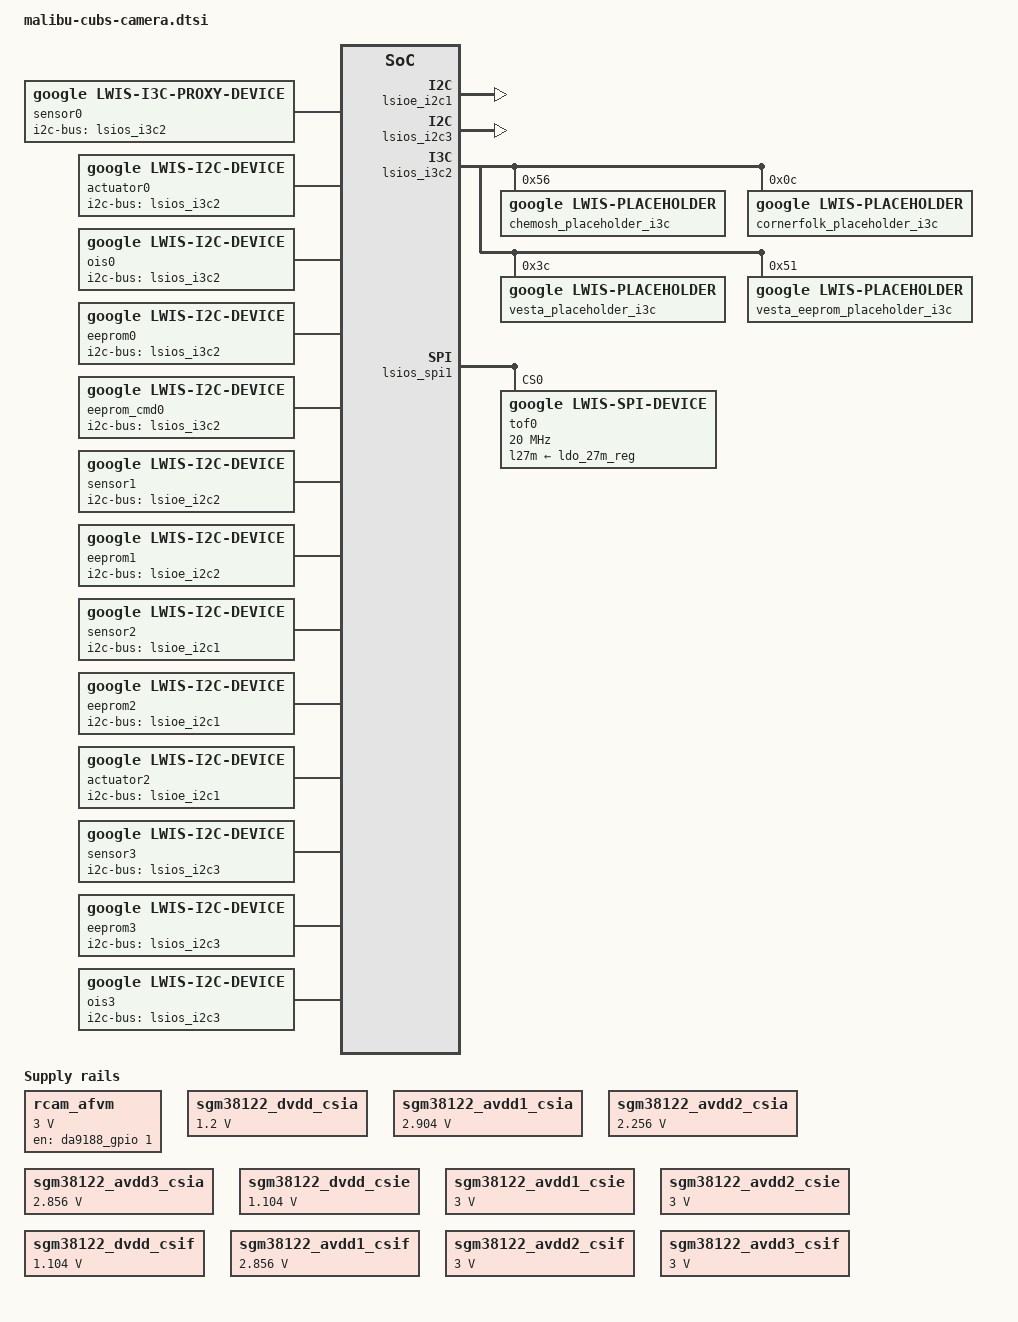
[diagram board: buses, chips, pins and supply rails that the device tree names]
// SPDX-License-Identifier: GPL-2.0-only
/*
 * camera lwis device tree for MBU device
 *
 * Copyright 2025 Google LLC.
 *
 */

#include <dt-bindings/gpio/gpio.h>
#include <dt-bindings/interrupt-controller/irq.h>
#include <dt-bindings/lwis/platform/malibu/tof.h>

&xlsioe_i23c7_scl {
	function = "lsioe_i2c";
};

&xlsioe_i23c7_sda {
	function = "lsioe_i2c";
};

/* FCAM: switch I2C/I3C explicitly */
&xlsioe_i23c6_scl {
	function = "lsioe_i2c";
};

&xlsioe_i23c6_sda {
	function = "lsioe_i2c";
};

&lsioe_i2c1 {
	status = "okay";
};

&lsioe_i3c1 {
	status = "disabled";
};

/* RTCAM: switch I2C/I3C explicitly */
&xlsios_i23c3_scl {
	function = "lsios_i2c3";
};

&xlsios_i23c3_sda {
	function = "lsios_i2c3";
};

&lsios_i2c3 {
	status = "okay";
};

&lsios_i3c3 {
	status = "disabled";
};

/* RCAM: switch I2C/I3C explicitly */
&xlsios_i23c2_scl {
	function = "lsios_i3c2";
};
&xlsios_i23c2_sda {
	function = "lsios_i3c2";
};
&lsios_i2c2 {
	status = "disabled";
};
&lsios_i3c2 {
	#address-cells = <3>;
	#size-cells = <0>;
	status = "okay";

	io-vreg-supply = <&ldo_22s_reg>;

	i3c-scl-hz = <12000000>;

	/* Lwis placeholder for RCAM */
	chemosh_placeholder_i3c: chemosh_placeholder_i3c@0 {
		compatible = "google,lwis-placeholder";
		/* I2C */
		reg = <0x56 0x0 0x20>;
	};
	cornerfolk_placeholder_i3c: cornerfolk_placeholder_i3c@0 {
		compatible = "google,lwis-placeholder";
		/* I2C */
		reg = <0xC 0x0 0x20>;
	};
	vesta_placeholder_i3c: vesta_placeholder_i3c@0 {
		compatible = "google,lwis-placeholder";
		/* I2C */
		reg = <0x3C 0x0 0x20>;
	};
	vesta_eeprom_placeholder_i3c: vesta_eeprom_placeholder_i3c@0 {
		compatible = "google,lwis-placeholder";
		/* I2C */
		reg = <0x51 0x0 0x20>;
	};
};

&sgm38122_dvdd_csia {
	regulator-min-microvolt = <1200000>;
	regulator-max-microvolt = <1200000>;
};
&sgm38122_avdd1_csia {
	regulator-min-microvolt = <2904000>;
	regulator-max-microvolt = <2904000>;
};
&sgm38122_avdd2_csia {
	regulator-min-microvolt = <2256000>;
	regulator-max-microvolt = <2256000>;
};
&sgm38122_avdd3_csia {
	regulator-min-microvolt = <2856000>;
	regulator-max-microvolt = <2856000>;
};

&sgm38122_dvdd_csie {
	regulator-min-microvolt = <1104000>;
	regulator-max-microvolt = <1104000>;
};
&sgm38122_avdd1_csie {
	regulator-min-microvolt = <3000000>;
	regulator-max-microvolt = <3000000>;
};
&sgm38122_avdd2_csie {
	regulator-min-microvolt = <3000000>;
	regulator-max-microvolt = <3000000>;
};

&sgm38122_dvdd_csif {
	regulator-min-microvolt = <1104000>;
	regulator-max-microvolt = <1104000>;
};
&sgm38122_avdd1_csif {
	regulator-min-microvolt = <2856000>;
	regulator-max-microvolt = <2856000>;
};
&sgm38122_avdd2_csif {
	regulator-min-microvolt = <3000000>;
	regulator-max-microvolt = <3000000>;
};
&sgm38122_avdd3_csif {
	regulator-min-microvolt = <3000000>;
	regulator-max-microvolt = <3000000>;
};

/ {
	fragment@rcam_supply {
		target-path = "/";
		__overlay__ {
			/* TPS7A20225PDQNR */
			rcam_afvm: rcam_afvm_supply@0 {
				compatible = "regulator-fixed";
				status = "okay";
				regulator-name = "PP3000_RCAM_AF_VM";
				regulator-min-microvolt = <3000000>;
				regulator-max-microvolt = <3000000>;
				/* 1.15ms */
				regulator-enable-ramp-delay = <1150>;
				enable-active-high;
				/* PMICM2RCAM_AF_VM_EN */
				gpio = <&da9188_gpio 1 GPIO_ACTIVE_HIGH>;
			};
		};
	};
};

&lsios_spi1 {
	#address-cells = <1>;
	#size-cells = <0>;
	google,spi-gpio-cs-with-cpol-high;
	tof0: tof@0 {
		compatible = "google,lwis-spi-device";

		/* SPI_CONFIG */
		reg = <0>;
		spi-max-frequency = <20000000>;
		spi-cpol;
		spi-cpha;

		/* Device node name */
		node-name = "tof-tarasque";

		/* Registers */
		reg-addr-bitwidth = <16>;
		reg-value-bitwidth = <8>;

		/* MCLK Control */
		/* LWIS DT parser explicitly requires mclk_on pinctrl */
		pinctrl-names = "default", "mclk_on", "mclk_off";
		pinctrl-0 = <&ldaf2aoss_irq_od_l_1v2>;
		pinctrl-1 = <&ldaf2aoss_irq_od_l_1v2>;
		pinctrl-2 = <>;

		irq-gpios = <LDAF2AOSS_IRQ_OD_L_1V2(GPIO_ACTIVE_LOW)>;
		irq-gpios-names = "tof-irq";
		irq-gpios-events = <LWIS_PLATFORM_EVENT_ID_TOF_DATA_POLLING>;
		irq-gpios-types = <IRQ_TYPE_EDGE_FALLING>;

		/* Power supplies */
		/* VADD 3.3V */
		l27m-supply = <&ldo_27m_reg>;

		/* Power up sequence */
		power-up-seqs =
			"l27m",
			"mclk_on";
		power-up-seq-types =
			"regulator",
			"pinctrl";
		power-up-seq-delays-us =
			<0
			 0>;

		/* Power down sequence */
		power-down-seqs =
			"mclk_off",
			"l27m";
		power-down-seq-types =
			"pinctrl",
			"regulator";
		power-down-seq-delays-us =
			<0
			 0>;

		/* Thread priority */
		/* This is made to be lower than image sensor's thread */
		/* thread priority to allow uninterrupted image sensor */
		/* operation during periods of high CPU contention. */
		transaction-thread-priority = <100>;
	};
};

/ {
	fragment@lwiscamera {
		target-path = "/";
		__overlay__ {
			camera_base_pwrseq: camera_base_pwrseq@0 {
				compatible = "google,lwis-pwrseq-device";

				/* Device node name */
				node-name = "pwrseq-base";
				/* Power sequence target name */
				target-name = "camera_base";

				/* Power supplies */
				bb_cam-supply = <&camera_buck_boost>;

				/* power up sequence */
				power-up-seqs =
					"bb_cam",
					"fast-bb_cam";
				power-up-seq-types =
					"regulator",
					"regulator_mode";
				power-up-seq-delays-us =
					<0
					 200>;

				/* power down sequence */
				power-down-seqs =
					"normal-bb_cam",
					"bb_cam";
				power-down-seq-types =
					"regulator_mode",
					"regulator";
				power-down-seq-delays-us =
					<0
					 0>;
			};

			rear_main_camera_pwrseq: rear_main_camera_pwrseq@0 {
				compatible = "google,lwis-pwrseq-device";

				/* Device node name */
				node-name = "pwrseq-rmain";
				/* Power sequence target name */
				target-name = "rear_main_camera";

				/* Sequencer sources */
				sequencer-sources = <&camera_base_pwrseq>;

				/* Power supplies */
				mvbuck-supply = <&cam_pp1350_mvbuck>;
				vio-supply = <&ldo_22s_reg>;
				vana-supply = <&sgm38122_avdd2_csia>;
				vdig-supply = <&rcam_lvbuck>;
				ois_vana-supply = <&sgm38122_avdd1_csia>;
				ois_vm-supply = <&ldo_26m_reg>;
				af_vm-supply = <&rcam_afvm>;

				/* MCLK Control */
				pinctrl-names = "mclk_on", "mclk_off";
				pinctrl-0 = <&ap2rcam_mclk_24mhz>;
				pinctrl-1 = <&ap2rcam_mclk_24mhz_sleep>;

				/* Power up sequence */
				power-up-seqs =
					"camera_base",
					"mvbuck",
					"vio",
					"vana",
					"vdig",
					"ois_vana",
					"af_vm",
					"ois_vm",
					"mclk_on";
				power-up-seq-types =
					"pwrseq",
					"regulator",
					"regulator",
					"regulator",
					"regulator",
					"regulator",
					"regulator",
					"regulator",
					"pinctrl";
				power-up-seq-delays-us =
					<0
					 0
					 2500
					 0
					 1000
					 0
					 0
					 1000
					 /* AF need 7.1ms (rounded to 8ms) before I2C stable,
					    added the remaining here */
					 7000>;


				power-down-seqs =
					"mclk_off",
					"ois_vm",
					"af_vm",
					"ois_vana",
					"vdig",
					"vana",
					"vio",
					"mvbuck",
					"camera_base";
				power-down-seq-types =
					"pinctrl",
					"regulator",
					"regulator",
					"regulator",
					"regulator",
					"regulator",
					"regulator",
					"regulator",
					"pwrseq";
				power-down-seq-delays-us =
					<1000
					 0
					 1000
					 1000
					 0
					 1000
					 0
					 200
					 0>;
			};

			/* REAR CAMERA CHEMOSH CSIB */
			sensor0: sensor@0 {
				compatible = "google,lwis-i3c-proxy-device";

				/* Device node name */
				node-name = "sensor-chemosh";

				/* I2C */
				i2c-bus = <&lsios_i3c2>;
				i2c-addr = <0x56>;

				/* Registers */
				reg-addr-bitwidth = <16>;
				reg-value-bitwidth = <16>;

				/* I3C */
				i3c-enabled;
				i3c-dcr = <130>;

				/* I2C OTP settings (reg, val) */
				lwis,i2c-otp;
				i2c-otp-settings =
					<0xFCFC 0x4000
					 0x0000 0x0052
					 0x0000 0x58E1
					 0x6018 0x0001
					 0xFFFF 1000

					 0x7002 0x0008
					 0x7004 0x1800
					 0x70B8 0x0CEB
					 0x6014 0x0001
					 0xFFFF 20000>;
				i2c-otp-settle-time = <0>;

				/* I3C OTP settings (reg, val) */
				i3c-otp-settings =
					<0xFCFC 0x4000
					 0x0000 0x0052
					 0x0000 0x58E1
					 0x6018 0x0001
					 0xFFFF 1000

					 0x7002 0x1008
					 0x7004 0x1800
					 0x70B8 0x0CEB
					 0x6014 0x0001
					 0xFFFF 20000>;
				i3c-otp-settle-time = <0>;

				/* I3C IBI */
				ibi-max-payload-len = <3>;
				ibi-num-slots = <8>;

				/* GPIOs */
				reset-gpios = <AP2RCAM_RST_L(GPIO_ACTIVE_HIGH)>;

				/* Power domains: cpm_clk */
				power-domains = <&sswrp_lsio_s_pd>;

				clocks = <&lsio_s_m4_clk>;
				clock-names = "MCLK4";
				clock-rates = <24576000>;

				/* Power sequence */
				power-sequencer = <&rear_main_camera_pwrseq>;

				power-up-seqs = "rear_main_camera", "resume";
				power-up-seq-types = "pwrseq", "controller";
				power-up-seq-delays-us = <0 0>;

				power-down-seqs = "suspend", "rear_main_camera";
				power-down-seq-types = "controller", "pwrseq";
				power-down-seq-delays-us = <0 0>;

				/* Power up mode */
				lwis,power-up-to-suspend;

				/* resume sequence */
				resume-seqs = "reset";
				resume-seq-types = "gpio";
				resume-seq-delays-us = <10000>;

				/* suspend sequence */
				suspend-seqs = "reset";
				suspend-seq-types = "gpio";
				suspend-seq-delays-us = <1000>;

				/* Thread priority */
				transaction-thread-priority = <99>;

				i2c-lock-group-id = <0>;
				transaction-process-limit = <200>;
			};

			/* Actuator CORNERFOLK for CHEMOSH */
			actuator0: actuator@0 {
				compatible = "google,lwis-i2c-device";

				/* Device node name */
				node-name = "act-cornerfolk";

				/* I2C */
				i2c-bus = <&lsios_i3c2>;
				i2c-addr = <0xC>;

				/* Registers */
				reg-addr-bitwidth = <8>;
				reg-value-bitwidth = <8>;

				/* Power sequence */
				power-sequencer = <&rear_main_camera_pwrseq>;

				power-up-seqs = "rear_main_camera", "resume";
				power-up-seq-types = "pwrseq", "controller";
				power-up-seq-delays-us = <0 0>;

				power-down-seqs = "suspend", "rear_main_camera";
				power-down-seq-types = "controller", "pwrseq";
				power-down-seq-delays-us = <0 0>;

				/* Thread priority */
				transaction-thread-priority = <99>;

				i2c-lock-group-id = <0>;
			};

			/* OIS VESTA for CHEMOSH */
			ois0: ois@0 {
				compatible = "google,lwis-i2c-device";

				/* Device node name */
				node-name = "ois-vesta";

				/* I2C */
				i2c-bus = <&lsios_i3c2>;
				i2c-addr = <0x3C>;

				/* Registers */
				reg-addr-bitwidth = <16>;
				reg-value-bitwidth = <8>;

				/* Power sequence */
				power-sequencer = <&rear_main_camera_pwrseq>;

				power-up-seqs = "rear_main_camera", "resume";
				power-up-seq-types = "pwrseq", "controller";
				power-up-seq-delays-us = <0 0>;

				power-down-seqs = "suspend", "rear_main_camera";
				power-down-seq-types = "controller", "pwrseq";
				power-down-seq-delays-us = <0 0>;

				/* Thread priority */
				transaction-thread-priority = <99>;

				i2c-lock-group-id = <0>;
			};

			/* EEPROM VESTA for CHEMOSH */
			eeprom0: eeprom@0 {
				compatible = "google,lwis-i2c-device";

				/* Device node name */
				node-name = "eeprom-vesta";

				/* I2C */
				i2c-bus = <&lsios_i3c2>;
				i2c-addr = <0x51>;

				/* Registers */
				reg-addr-bitwidth = <16>;
				reg-value-bitwidth = <32>;

				/* Power sequence */
				power-sequencer = <&rear_main_camera_pwrseq>;

				power-up-seqs = "rear_main_camera", "resume";
				power-up-seq-types = "pwrseq", "controller";
				power-up-seq-delays-us = <0 0>;

				power-down-seqs = "suspend", "rear_main_camera";
				power-down-seq-types = "controller", "pwrseq";
				power-down-seq-delays-us = <0 0>;

				/* Thread priority */
				transaction-thread-priority = <99>;

				i2c-lock-group-id = <0>;
			};

			eeprom_cmd0: eeprom_cmd@0 {
				compatible = "google,lwis-i2c-device";

				/* Device node name */
				node-name = "eeprom-cmd-vesta";

				/* I2C */
				i2c-bus = <&lsios_i3c2>;
				i2c-addr = <0x51>;

				/* Registers */
				reg-addr-bitwidth = <16>;
				reg-value-bitwidth = <8>;

				/* Power sequence */
				power-sequencer = <&rear_main_camera_pwrseq>;

				power-up-seqs = "rear_main_camera", "resume";
				power-up-seq-types = "pwrseq", "controller";
				power-up-seq-delays-us = <0 0>;

				power-down-seqs = "suspend", "rear_main_camera";
				power-down-seq-types = "controller", "pwrseq";
				power-down-seq-delays-us = <0 0>;

				/* Thread priority */
				transaction-thread-priority = <99>;

				i2c-lock-group-id = <0>;
			};

			rear_uw_camera_pwrseq: rear_uw_camera_pwrseq@0 {
				compatible = "google,lwis-pwrseq-device";

				/* Device node name */
				node-name = "pwrseq-ruw";
				/* Power sequence target name */
				target-name = "rear_uw_camera";

				/* Sequencer sources */
				sequencer-sources = <&camera_base_pwrseq>;

				/* Power supplies */
				mvbuck-supply = <&cam_pp1350_mvbuck>;
				vio-supply = <&ldo_22s_reg>;
				vdig-supply = <&sgm38122_dvdd_csia>;
				vana-supply = <&sgm38122_avdd3_csia>;

				/* MCLK Control */
				pinctrl-names = "mclk_on", "mclk_off";
				pinctrl-0 = <&ap2ruwcam_mclk_24mhz>;
				pinctrl-1 = <&ap2ruwcam_mclk_24mhz_sleep>;

				power-up-seqs =
					"camera_base",
					"mvbuck",
					"vio",
					"vana",
					"vdig",
					"mclk_on";
				power-up-seq-types =
					"pwrseq",
					"regulator",
					"regulator",
					"regulator",
					"regulator",
					"pinctrl";
				power-up-seq-delays-us =
					<0
					 0
					 2500
					 0
					 1000
					 10000>;

				power-down-seqs =
					"mclk_off",
					"vdig",
					"vana",
					"vio",
					"mvbuck",
					"camera_base";
				power-down-seq-types =
					"pinctrl",
					"regulator",
					"regulator",
					"regulator",
					"regulator",
					"pwrseq";
				power-down-seq-delays-us =
					<1000
					 1000
					 1000
					 0
					 200
					 0>;
			};

			/* REAR ULTRA WIDE LESHEN CSIE */
			sensor1: sensor@1 {
				compatible = "google,lwis-i2c-device";

				/* Device node name */
				node-name = "sensor-leshen-uw";

				/* I2C */
				i2c-bus = <&lsioe_i2c2>;
				i2c-addr = <0x1A>;

				/* Registers */
				reg-addr-bitwidth = <16>;
				reg-value-bitwidth = <8>;

				/* GPIOs */
				reset-gpios = <AP2RUWCAM_RST_L(GPIO_ACTIVE_HIGH)>;

				/* Power domains: cpm_clk */
				power-domains = <&sswrp_lsio_s_pd>;

				clocks = <&lsio_s_m2_clk>;
				clock-names = "MCLK2";
				clock-rates = <24576000>;

				/* Power up sequence */
				power-sequencer = <&rear_uw_camera_pwrseq>;

				power-up-seqs = "rear_uw_camera", "resume";
				power-up-seq-types = "pwrseq", "controller";
				power-up-seq-delays-us = <0 0>;

				power-down-seqs = "suspend", "rear_uw_camera";
				power-down-seq-types = "controller", "pwrseq";
				power-down-seq-delays-us = <0 0>;

				/* resume sequence */
				resume-seqs = "reset";
				resume-seq-types = "gpio";
				resume-seq-delays-us = <1000>;

				/* suspend sequence */
				suspend-seqs = "reset";
				suspend-seq-types = "gpio";
				suspend-seq-delays-us = <1000>;

				/* Power up mode */
				lwis,power-up-to-suspend;

				/* Thread priority */
				transaction-thread-priority = <99>;

				i2c-lock-group-id = <1>;
			};

			/* EEPROM SMAUG for LESHEN-UW */
			eeprom1: eeprom@1 {
				compatible = "google,lwis-i2c-device";

				/* Device node name */
				node-name = "eeprom-smaug-leshen-uw";

				/* I2C */
				i2c-bus = <&lsioe_i2c2>;
				i2c-addr = <0x50>;

				/* Registers */
				reg-addr-bitwidth = <16>;
				reg-value-bitwidth = <8>;

				/* Power up sequence */
				power-sequencer = <&rear_uw_camera_pwrseq>;

				power-up-seqs = "rear_uw_camera", "resume";
				power-up-seq-types = "pwrseq", "controller";
				power-up-seq-delays-us = <0 0>;

				power-down-seqs = "suspend", "rear_uw_camera";
				power-down-seq-types = "controller", "pwrseq";
				power-down-seq-delays-us = <0 0>;

				/* Thread priority */
				/* Match with other bus devices */
				transaction-thread-priority = <99>;

				i2c-lock-group-id = <1>;
			};

			front_camera_pwrseq: front_camera_pwrseq@0 {
				compatible = "google,lwis-pwrseq-device";

				/* Device node name */
				node-name = "pwrseq-fmain";
				/* Power sequence target name */
				target-name = "front_camera";

				/* Sequencer sources */
				sequencer-sources = <&camera_base_pwrseq>;

				/* GPIOs */
				csimux-sel-gpios =
					<AP2CSIMUX_SEL(GPIO_ACTIVE_HIGH)>;

				/* Power supplies */
				pp1350_cam-supply = <&cam_pp1350_mvbuck>;
				pp1850_vio-supply = <&ldo_22s_reg>;
				pp3000_vana-supply = <&sgm38122_avdd2_csie>;
				pp1100_vdig-supply = <&sgm38122_dvdd_csie>;
				pp3000_af_vm-supply = <&sgm38122_avdd1_csie>;

				/* MCLK Control */
				pinctrl-names = "mclk_on", "mclk_off",
						"vsync_on", "vsync_off";
				pinctrl-0 = <&ap2fcam0_mclk_24mhz>;
				pinctrl-1 = <&ap2fcam0_mclk_24mhz_sleep>;
				pinctrl-2 = <&fcam0_2_ap_vsync>;
				pinctrl-3 = <&fcam0_2_ap_vsync_sleep>;

				power-up-seqs =
					"csimux-sel",
					"camera_base",
					"pp1350_cam",
					"pp1850_vio",
					"pp3000_vana",
					"pp1100_vdig",
					"pp3000_af_vm",
					"mclk_on",
					"vsync_on";
				power-up-seq-types =
					"gpio",
					"pwrseq",
					"regulator",
					"regulator",
					"regulator",
					"regulator",
					"regulator",
					"pinctrl",
					"pinctrl";
				power-up-seq-delays-us =
					<0
					 0
					 0
					 2500
					 0
					 1000
					 1000
					 0
					 /* AF need 7.1ms (rounded to 8ms) before I2C stable,
					    added the remaining here */
					 7000>;

				power-down-seqs =
					"vsync_off",
					"mclk_off",
					"pp3000_af_vm",
					"pp1100_vdig",
					"pp3000_vana",
					"pp1850_vio",
					"pp1350_cam",
					"camera_base",
					"csimux-sel";
				power-down-seq-types =
					"pinctrl",
					"pinctrl",
					"regulator",
					"regulator",
					"regulator",
					"regulator",
					"regulator",
					"pwrseq",
					"gpio";
				power-down-seq-delays-us =
					<0
					 0
					 1000
					 0
					 1000
					 0
					 0
					 200
					 0>;
			};

			/* FRONT DOKKAEBI CSIF*/
			sensor2: sensor@2 {
				compatible = "google,lwis-i2c-device";

				node-name = "sensor-dokkaebi";

				i2c-bus = <&lsioe_i2c1>;
				i2c-addr = <0x10>;

				/* Registers */
				reg-addr-bitwidth = <16>;
				reg-value-bitwidth = <16>;

				lwis,i2c-otp;
				i2c-otp-settings =
					<0xFCFC 0x4000
					 0x6010 0x0001>;
				i2c-otp-settle-time = <3000>;

				/* GPIOs */
				reset-gpios = <AP2FCAM0_RST_L(GPIO_ACTIVE_HIGH)>;

				/* Power domains: cpm_clk */
				power-domains = <&sswrp_lsio_s_pd>;

				clocks = <&lsio_s_m6_clk>;
				clock-names = "MCLK6";
				clock-rates = <24576000>;

				/* Power sequence */
				power-sequencer = <&front_camera_pwrseq>;

				power-up-seqs = "front_camera", "resume";
				power-up-seq-types = "pwrseq", "controller";
				power-up-seq-delays-us = <0 0>;

				power-down-seqs = "suspend", "front_camera";
				power-down-seq-types = "controller", "pwrseq";
				power-down-seq-delays-us = <0 0>;

				lwis,power-up-to-suspend;

				resume-seqs = "reset";
				resume-seq-types = "gpio";
				resume-seq-delays-us = <2000>;

				suspend-seqs = "reset";
				suspend-seq-types = "gpio";
				suspend-seq-delays-us = <1000>;

				/* Thread priority */
				transaction-thread-priority = <99>;

				i2c-lock-group-id = <2>;
			};

			/* EEPROM SMAUG for DOKKAEBI */
			eeprom2: eeprom@2 {
				compatible = "google,lwis-i2c-device";

				node-name = "eeprom-smaug-dokkaebi";

				i2c-bus = <&lsioe_i2c1>;
				i2c-addr = <0x51>;

				/* Registers */
				reg-addr-bitwidth = <16>;
				reg-value-bitwidth = <8>;

				/* Power sequence */
				power-sequencer = <&front_camera_pwrseq>;

				power-up-seqs = "front_camera", "resume";
				power-up-seq-types = "pwrseq", "controller";
				power-up-seq-delays-us = <0 0>;

				power-down-seqs = "suspend", "front_camera";
				power-down-seq-types = "controller", "pwrseq";
				power-down-seq-delays-us = <0 0>;

				/* Thread priority */
				/* Match with other bus devices */
				transaction-thread-priority = <99>;

				i2c-lock-group-id = <2>;
			};

			/* Actuator CORNERFOLK for DOKKAEBI */
			actuator2: actuator@2 {
				compatible = "google,lwis-i2c-device";

				node-name = "act-cornerfolk-dokkaebi";

				i2c-bus = <&lsioe_i2c1>;
				i2c-addr = <0xC>;

				/* Registers */
				reg-addr-bitwidth = <8>;
				reg-value-bitwidth = <8>;

				/* Power sequence */
				power-sequencer = <&front_camera_pwrseq>;

				power-up-seqs = "front_camera", "resume";
				power-up-seq-types = "pwrseq", "controller";
				power-up-seq-delays-us = <0 0>;

				power-down-seqs = "suspend", "front_camera";
				power-down-seq-types = "controller", "pwrseq";
				power-down-seq-delays-us = <0 0>;

				/* Thread priority */
				transaction-thread-priority = <99>;

				i2c-lock-group-id = <2>;
			};

			rear_tele_camera_pwrseq: rear_tele_camera_pwrseq@0 {
				compatible = "google,lwis-pwrseq-device";

				/* Device node name */
				node-name = "pwrseq-rtele";
				/* Power sequence target name */
				target-name = "rear_tele_camera";

				/* Sequencer sources */
				sequencer-sources = <&camera_base_pwrseq>;

				/* GPIOs */
				afois-reset-gpios =
					<AP2RTCAM_AF_OIS_RST(GPIO_ACTIVE_HIGH)>;

				/* Power supplies */
				pp1350_cam-supply = <&cam_pp1350_mvbuck>;
				pp1850_vio-supply = <&ldo_22s_reg>;
				pp2950_vana-supply = <&sgm38122_avdd2_csif>;
				pp1100_vdig-supply = <&sgm38122_dvdd_csif>;
				pp2850_afois_vana-supply =
					<&sgm38122_avdd1_csif>;
				pp2850_afois_vm-supply = <&sgm38122_avdd3_csif>;

				/* MCLK Control */
				pinctrl-names = "mclk_on", "mclk_off",
						"vsync_on", "vsync_off";
				pinctrl-0 = <&ap2rtcam_mclk_24mhz>;
				pinctrl-1 = <&ap2rtcam_mclk_24mhz_sleep>;
				pinctrl-2 = <&rtcam2ap_vsync>;
				pinctrl-3 = <&rtcam2ap_vsync_sleep>;

				power-up-seqs =
					"camera_base",
					"pp1350_cam",
					"pp1850_vio",
					"pp2950_vana",
					"pp1100_vdig",
					"pp2850_afois_vana",
					"pp2850_afois_vm",
					"afois-reset",
					"mclk_on",
					"vsync_on";
				power-up-seq-types =
					"pwrseq",
					"regulator",
					"regulator",
					"regulator",
					"regulator",
					"regulator",
					"regulator",
					"gpio",
					"pinctrl",
					"pinctrl";
				power-up-seq-delays-us =
					<0
					 0
					 2500
					 0
					 1000
					 1000
					 1000
					 1000
					 0
					 1000>;

				power-down-seqs =
					"vsync_off",
					"mclk_off",
					"afois-reset",
					"pp2850_afois_vm",
					"pp2850_afois_vana",
					"pp1100_vdig",
					"pp2950_vana",
					"pp1850_vio",
					"pp1350_cam",
					"camera_base";
				power-down-seq-types =
					"pinctrl",
					"pinctrl",
					"gpio",
					"regulator",
					"regulator",
					"regulator",
					"regulator",
					"regulator",
					"regulator",
					"pwrseq";
				power-down-seq-delays-us =
					<0
					 1000
					 1000
					 1000
					 1000
					 0
					 1000
					 0
					 200
					 0>;
			};

			/* REAR TELE DOKKAEBI CSIF */
			sensor3: sensor@3 {
				compatible = "google,lwis-i2c-device";

				node-name = "sensor-dokkaebi-tele";

				i2c-bus = <&lsios_i2c3>;
				i2c-addr = <0x10>;

				/* Registers */
				reg-addr-bitwidth = <16>;
				reg-value-bitwidth = <16>;

				lwis,i2c-otp;
				i2c-otp-settings =
					<0xFCFC 0x4000
					 0x6010 0x0001>;
				i2c-otp-settle-time = <3000>;

				/* GPIOs */
				reset-gpios =
					<AP2RTCAM_RST_L(GPIO_ACTIVE_HIGH)>;

				/* Power domains: cpm_clk */
				power-domains = <&sswrp_lsio_s_pd>;

				clocks = <&lsio_s_m5_clk>;
				clock-names = "MCLK5";
				clock-rates = <24576000>;

				/* Power sequence */
				power-sequencer = <&rear_tele_camera_pwrseq>;

				power-up-seqs = "rear_tele_camera", "resume";
				power-up-seq-types = "pwrseq", "controller";
				power-up-seq-delays-us = <0 0>;

				power-down-seqs = "suspend", "rear_tele_camera";
				power-down-seq-types = "controller", "pwrseq";
				power-down-seq-delays-us = <0 0>;

				lwis,power-up-to-suspend;

				resume-seqs = "reset";
				resume-seq-types = "gpio";
				resume-seq-delays-us = <2000>;

				suspend-seqs = "reset";
				suspend-seq-types = "gpio";
				suspend-seq-delays-us = <1000>;

				/* Thread priority */
				transaction-thread-priority = <99>;

				i2c-lock-group-id = <3>;
			};

			/* EEPROM HUMBABA for DOKKAEBI TELE */
			eeprom3: eeprom@3 {
				compatible = "google,lwis-i2c-device";

				node-name = "eeprom-humbaba";

				i2c-bus = <&lsios_i2c3>;
				i2c-addr = <0x61>;

				/* Registers */
				reg-addr-bitwidth = <16>;
				reg-value-bitwidth = <8>;

				/* Power sequence */
				power-sequencer = <&rear_tele_camera_pwrseq>;

				power-up-seqs = "rear_tele_camera", "resume";
				power-up-seq-types = "pwrseq", "controller";
				power-up-seq-delays-us = <0 0>;

				power-down-seqs = "suspend", "rear_tele_camera";
				power-down-seq-types = "controller", "pwrseq";
				power-down-seq-delays-us = <0 0>;

				/* Thread priority */
				/* Match with other bus devices */
				transaction-thread-priority = <99>;

				i2c-lock-group-id = <3>;
				lwis,disable-group-transfer;
			};

			/* OIS HUMBABA for DOKKAEBI TELE */
			ois3: ois@3  {
				compatible = "google,lwis-i2c-device";

				node-name = "ois-humbaba";

				i2c-bus = <&lsios_i2c3>;
				i2c-addr = <0x61>;

				/* Registers */
				reg-addr-bitwidth = <16>;
				reg-value-bitwidth = <8>;

				/* Power sequence */
				power-sequencer = <&rear_tele_camera_pwrseq>;

				power-up-seqs = "rear_tele_camera", "resume";
				power-up-seq-types = "pwrseq", "controller";
				power-up-seq-delays-us = <0 0>;

				power-down-seqs = "suspend", "rear_tele_camera";
				power-down-seq-types = "controller", "pwrseq";
				power-down-seq-delays-us = <0 0>;

				/* Thread priority */
				transaction-thread-priority = <99>;

				i2c-lock-group-id = <3>;
				lwis,disable-group-transfer;
			};
		};
	};
};
